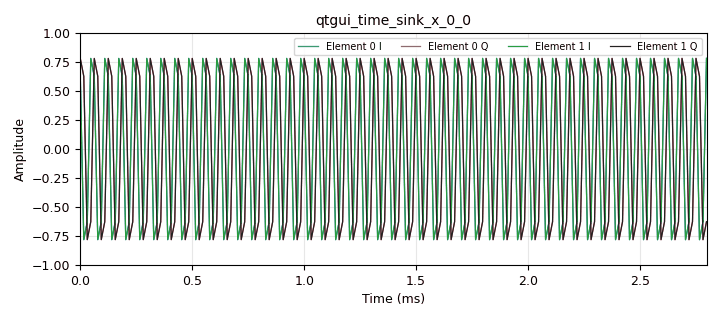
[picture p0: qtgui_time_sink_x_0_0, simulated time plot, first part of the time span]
options:
  parameters:
    author: bimapancara
    generate_options: qt_gui
    id: DirectionArrivalPeakTransmit
    output_language: python
    title: DoA Peak Transmit
  states: {}

blocks:
- name: bandwidth
  id: variable
  parameters:
    comment: Bandwidth
    value: 2000e3 * 3
  states: {}
- name: c
  id: variable
  parameters:
    comment: Speed of Light
    value: sc.constants.c
  states: {}
- name: d
  id: variable
  parameters:
    comment: Antenna Rx Distance
    value: wavelength * 0.5
  states: {}
- name: d_m
  id: variable
  parameters:
    comment: |-
      Antenna Rx Distance
      in mm
    value: d*1000
  states: {}
- name: freq_center
  id: variable
  parameters:
    comment: Center Frequency
    value: 2.3e9
  states: {}
- name: gain
  id: variable
  parameters:
    comment: Rx Gain
    value: '50'
  states: {}
- name: gain_tx
  id: variable
  parameters:
    comment: Tx Gain
    value: '50'
  states: {}
- name: incident_wave
  id: variable_qtgui_range
  parameters:
    label: Angle of Incident
    start: '-90'
    step: '5'
    stop: '90'
    value: '0'
  states: {}
- name: phi0
  id: variable
  parameters:
    value: 0 * ((360 * d / wavelength) * np.sin(np.deg2rad(incident_wave)))
  states: {}
- name: phi1
  id: variable
  parameters:
    value: 1 * ((360 * d / wavelength) * np.sin(np.deg2rad(incident_wave)))
  states: {}
- name: samp_rate
  id: variable
  parameters:
    value: 64e3
  states: {}
- name: signal_freq
  id: variable
  parameters:
    comment: |-
      Frequency of the
       signal being transmit
    value: 2000e3
  states: {}
- name: wavelength
  id: variable
  parameters:
    comment: |-
      Wavelength of 
      Frequency Center
    value: c / freq_center
  states: {}
- name: analog_sig_source_x_0
  id: analog_sig_source_x
  parameters:
    amp: '1'
    freq: signal_freq
    offset: '0'
    phase: '0'
    samp_rate: samp_rate
    type: complex
    waveform: analog.GR_COS_WAVE
  states: {state: disabled}
- name: analog_sig_source_x_0_0
  id: analog_sig_source_x
  parameters:
    amp: '1'
    freq: signal_freq
    offset: '0'
    phase: '0'
    samp_rate: samp_rate
    type: complex
    waveform: analog.GR_COS_WAVE
  states: {}
- name: analog_sig_source_x_0_1
  id: analog_sig_source_x
  parameters:
    amp: '1'
    freq: signal_freq
    offset: '0'
    phase: '0'
    samp_rate: samp_rate
    type: complex
    waveform: analog.GR_COS_WAVE
  states: {}
- name: blocks_phase_shift_0
  id: blocks_phase_shift
  parameters:
    is_radians: 'False'
    shift: phi0
  states: {}
- name: blocks_phase_shift_0_0
  id: blocks_phase_shift
  parameters:
    is_radians: 'False'
    shift: phi1
  states: {}
- name: blocks_throttle2_0
  id: blocks_throttle2
  parameters:
    samples_per_second: samp_rate
    type: complex
  states: {}
- name: blocks_throttle2_0_0
  id: blocks_throttle2
  parameters:
    samples_per_second: samp_rate
    type: complex
  states: {}
- name: import_0
  id: import
  parameters:
    comment: Import Numpy
    imports: import numpy as np
  states: {}
- name: import_0_0
  id: import
  parameters:
    comment: Import Scipy
    imports: import scipy as sc
  states: {}
- name: qtgui_time_sink_x_0_0
  id: qtgui_time_sink_x
  parameters:
    color2: green
    label1: Element 0 I
    label2: Element 0 Q
    label3: Element 1 I
    label4: Element 1 Q
    nconnections: '2'
    size: '1024'
    srate: samp_rate
    type: complex
  states: {}
- name: uhd_usrp_sink_0
  id: uhd_usrp_sink
  parameters:
    ant0: '"TX/RX"'
    bw0: bandwidth
    center_freq0: freq_center
    gain0: gain_tx
    samp_rate: samp_rate
    sync: pc_clock
    type: fc32
  states: {state: disabled}
- name: zeromq_pub_sink_0
  id: zeromq_pub_sink
  parameters:
    address: tcp://127.0.0.1:49200
    timeout: '100'
    type: complex
  states: {}
- name: zeromq_pub_sink_1
  id: zeromq_pub_sink
  parameters:
    address: tcp://127.0.0.1:49202
    timeout: '100'
    type: complex
  states: {}

connections:
- [analog_sig_source_x_0, '0', uhd_usrp_sink_0, '0']
- [analog_sig_source_x_0_0, '0', blocks_phase_shift_0, '0']
- [analog_sig_source_x_0_1, '0', blocks_phase_shift_0_0, '0']
- [blocks_phase_shift_0, '0', blocks_throttle2_0, '0']
- [blocks_phase_shift_0_0, '0', blocks_throttle2_0_0, '0']
- [blocks_throttle2_0, '0', qtgui_time_sink_x_0_0, '0']
- [blocks_throttle2_0, '0', zeromq_pub_sink_0, '0']
- [blocks_throttle2_0_0, '0', qtgui_time_sink_x_0_0, '1']
- [blocks_throttle2_0_0, '0', zeromq_pub_sink_1, '0']

metadata:
  file_format: 1
  grc_version: 3.10.12.0
